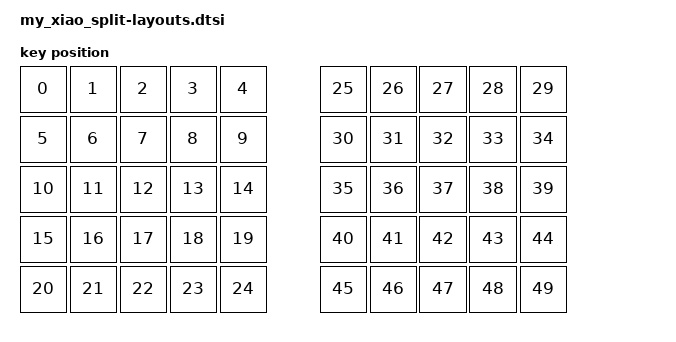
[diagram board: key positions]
// This file maps the visual layout positions for your 5x5 split keyboard (50 keys total).
#include <physical_layouts.dtsi>

/ {
    default_layout: default_layout {
        compatible = "zmk,physical-layout";
        display-name = "Default Layout";
        transform = <&default_transform>;
        kscan = <&kscan>;

        keys
            // Left Half (Rows 0-4, Columns 0-4)
            = <&key_physical_attrs 100 100    0    0   0 0 0> // Row 0
            , <&key_physical_attrs 100 100  100    0   0 0 0>
            , <&key_physical_attrs 100 100  200    0   0 0 0>
            , <&key_physical_attrs 100 100  300    0   0 0 0>
            , <&key_physical_attrs 100 100  400    0   0 0 0>
            
            , <&key_physical_attrs 100 100    0  100   0 0 0> // Row 1
            , <&key_physical_attrs 100 100  100  100   0 0 0>
            , <&key_physical_attrs 100 100  200  100   0 0 0>
            , <&key_physical_attrs 100 100  300  100   0 0 0>
            , <&key_physical_attrs 100 100  400  100   0 0 0>
            
            , <&key_physical_attrs 100 100    0  200   0 0 0> // Row 2
            , <&key_physical_attrs 100 100  100  200   0 0 0>
            , <&key_physical_attrs 100 100  200  200   0 0 0>
            , <&key_physical_attrs 100 100  300  200   0 0 0>
            , <&key_physical_attrs 100 100  400  200   0 0 0>
            
            , <&key_physical_attrs 100 100    0  300   0 0 0> // Row 3
            , <&key_physical_attrs 100 100  100  300   0 0 0>
            , <&key_physical_attrs 100 100  200  300   0 0 0>
            , <&key_physical_attrs 100 100  300  300   0 0 0>
            , <&key_physical_attrs 100 100  400  300   0 0 0>
            
            , <&key_physical_attrs 100 100    0  400   0 0 0> // Row 4
            , <&key_physical_attrs 100 100  100  400   0 0 0>
            , <&key_physical_attrs 100 100  200  400   0 0 0>
            , <&key_physical_attrs 100 100  300  400   0 0 0>
            , <&key_physical_attrs 100 100  400  400   0 0 0>

            // Right Half (Rows 0-4, Columns 5-9 - visually offset to the right by 600 units)
            , <&key_physical_attrs 100 100  600    0   0 0 0> // Row 0
            , <&key_physical_attrs 100 100  700    0   0 0 0>
            , <&key_physical_attrs 100 100  800    0   0 0 0>
            , <&key_physical_attrs 100 100  900    0   0 0 0>
            , <&key_physical_attrs 100 100 1000    0   0 0 0>
            
            , <&key_physical_attrs 100 100  600  100   0 0 0> // Row 1
            , <&key_physical_attrs 100 100  700  100   0 0 0>
            , <&key_physical_attrs 100 100  800  100   0 0 0>
            , <&key_physical_attrs 100 100  900  100   0 0 0>
            , <&key_physical_attrs 100 100 1000  100   0 0 0>
            
            , <&key_physical_attrs 100 100  600  200   0 0 0> // Row 2
            , <&key_physical_attrs 100 100  700  200   0 0 0>
            , <&key_physical_attrs 100 100  800  200   0 0 0>
            , <&key_physical_attrs 100 100  900  200   0 0 0>
            , <&key_physical_attrs 100 100 1000  200   0 0 0>
            
            , <&key_physical_attrs 100 100  600  300   0 0 0> // Row 3
            , <&key_physical_attrs 100 100  700  300   0 0 0>
            , <&key_physical_attrs 100 100  800  300   0 0 0>
            , <&key_physical_attrs 100 100  900  300   0 0 0>
            , <&key_physical_attrs 100 100 1000  300   0 0 0>
            
            , <&key_physical_attrs 100 100  600  400   0 0 0> // Row 4
            , <&key_physical_attrs 100 100  700  400   0 0 0>
            , <&key_physical_attrs 100 100  800  400   0 0 0>
            , <&key_physical_attrs 100 100  900  400   0 0 0>
            , <&key_physical_attrs 100 100 1000  400   0 0 0>
            ;
    };
};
